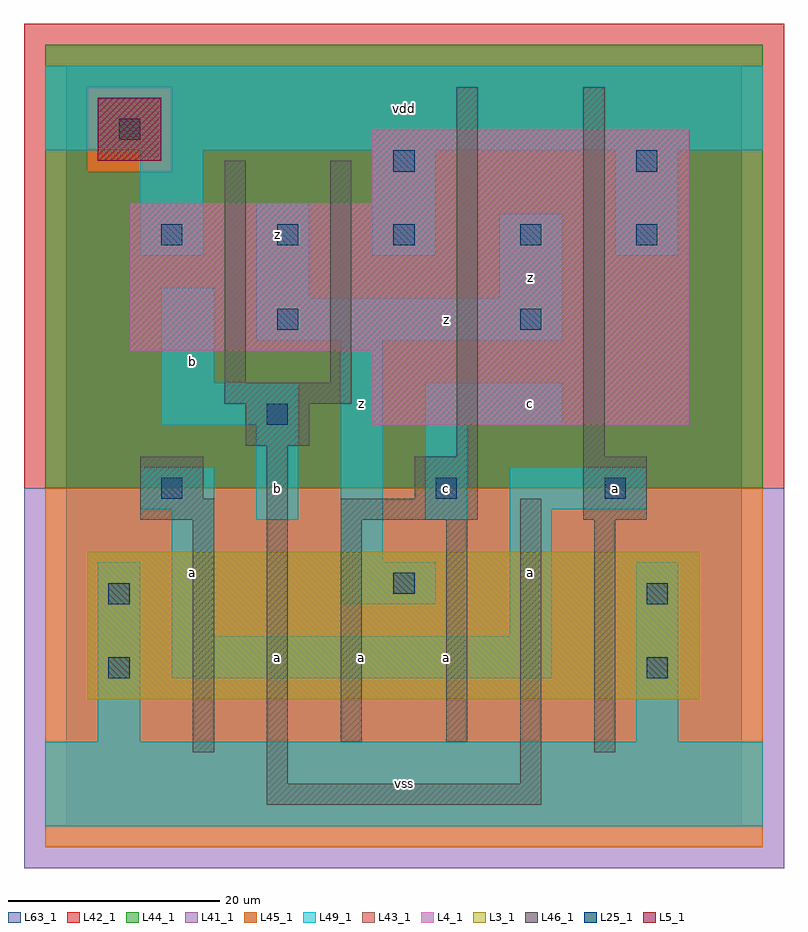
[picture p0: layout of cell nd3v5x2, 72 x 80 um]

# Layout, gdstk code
import gdstk
lib = gdstk.Library(unit=1e-6, precision=1e-09)
def R(c, l, rs):  # rectangles x0, y0, x1, y1
    for r in rs: c.add(gdstk.rectangle(r[:2], r[2:], *l))
def A(c, l, x, y, w, h, nx, ny, dx, dy):  # array of equal rectangles
    R(c, l, [(x+i*dx, y+j*dy, x+i*dx+w, y+j*dy+h) for i in range(nx) for j in range(ny)])
L3_1 = (3, 1)
L4_1 = (4, 1)
L5_1 = (5, 1)
L25_1 = (25, 1)
L41_1 = (41, 1)
L42_1 = (42, 1)
L43_1 = (43, 1)
L44_1 = (44, 1)
L45_1 = (45, 1)
L46_1 = (46, 1)
L49_1 = (49, 1)
L63_1 = (63, 1)

nd3v5x2 = lib.new_cell('nd3v5x2')
R(nd3v5x2, L3_1, [(2,12,60,26)])
R(nd3v5x2, L4_1, [(29,38,59,45), (6,45,59,59), (29,59,59,66)])
R(nd3v5x2, L5_1, [(3,63,9,69)])
A(nd3v5x2, L25_1, 9, 55, 2, 2, 3, 1, 11, 0)
R(nd3v5x2, L25_1, [(4,14,6,16), (55,14,57,16), (4,21,6,23), (55,21,57,23), (31,22,33,24), (9,31,11,33), (35,31,37,33), (51,31,53,33), (19,38,21,40), (20,47,22,49), (43,47,45,49), (43,55,45,57), (54,55,56,57), (31,62,33,64), (54,62,56,64), (5,65,7,67)])
R(nd3v5x2, L41_1, [(-4,-4,68,32)])
R(nd3v5x2, L42_1, [(-4,32,68,76)])
R(nd3v5x2, L43_1, [(2,12,60,26), (29,38,59,45), (6,45,59,59), (29,59,59,66), (3,63,9,69)])
R(nd3v5x2, L44_1, [(-2,32,66,62), (-2,62,2,70), (10,62,66,70), (-2,70,66,74)])
R(nd3v5x2, L45_1, [(-2,-2,66,32), (2,62,10,70)])
R(nd3v5x2, L46_1, [(19,2,45,4), (19,4,21,36), (43,4,45,31), (12,7,14,29), (50,7,52,29), (26,8,28,29), (36,8,38,29), (7,29,14,31), (26,29,39,31), (49,29,55,35), (7,31,13,35), (33,31,39,35), (37,35,39,70), (49,35,51,70), (17,36,23,40), (15,40,27,42), (15,42,17,63), (25,42,27,63)])
R(nd3v5x2, L49_1, [(-2,0,66,8), (3,8,7,25), (54,8,58,25), (10,14,46,18), (10,18,14,30), (42,18,46,30), (26,21,35,25), (26,25,30,46), (18,29,22,38), (34,29,38,38), (7,30,14,34), (42,30,55,34), (9,38,22,42), (34,38,47,42), (9,42,14,51), (18,46,47,50), (18,50,23,59), (41,50,47,58), (7,54,13,64), (29,54,35,64), (52,54,58,64), (-2,64,66,72)])
R(nd3v5x2, L63_1, [(0,0,64,72)])
nd3v5x2.add(gdstk.Label('a', (12,24), layer=49, texttype=1))
nd3v5x2.add(gdstk.Label('b', (12,44), layer=49, texttype=1))
nd3v5x2.add(gdstk.Label('a', (20,16), layer=49, texttype=1))
nd3v5x2.add(gdstk.Label('a', (28,16), layer=49, texttype=1))
nd3v5x2.add(gdstk.Label('b', (20,32), layer=49, texttype=1))
nd3v5x2.add(gdstk.Label('z', (28,40), layer=49, texttype=1))
nd3v5x2.add(gdstk.Label('z', (20,56), layer=49, texttype=1))
nd3v5x2.add(gdstk.Label('vss', (32,4), layer=49, texttype=1))
nd3v5x2.add(gdstk.Label('a', (36,16), layer=49, texttype=1))
nd3v5x2.add(gdstk.Label('c', (36,32), layer=49, texttype=1))
nd3v5x2.add(gdstk.Label('a', (44,24), layer=49, texttype=1))
nd3v5x2.add(gdstk.Label('c', (44,40), layer=49, texttype=1))
nd3v5x2.add(gdstk.Label('z', (36,48), layer=49, texttype=1))
nd3v5x2.add(gdstk.Label('z', (44,52), layer=49, texttype=1))
nd3v5x2.add(gdstk.Label('vdd', (32,68), layer=49, texttype=1))
nd3v5x2.add(gdstk.Label('a', (52,32), layer=49, texttype=1))

lib.write_gds('nd3v5x2.gds')
